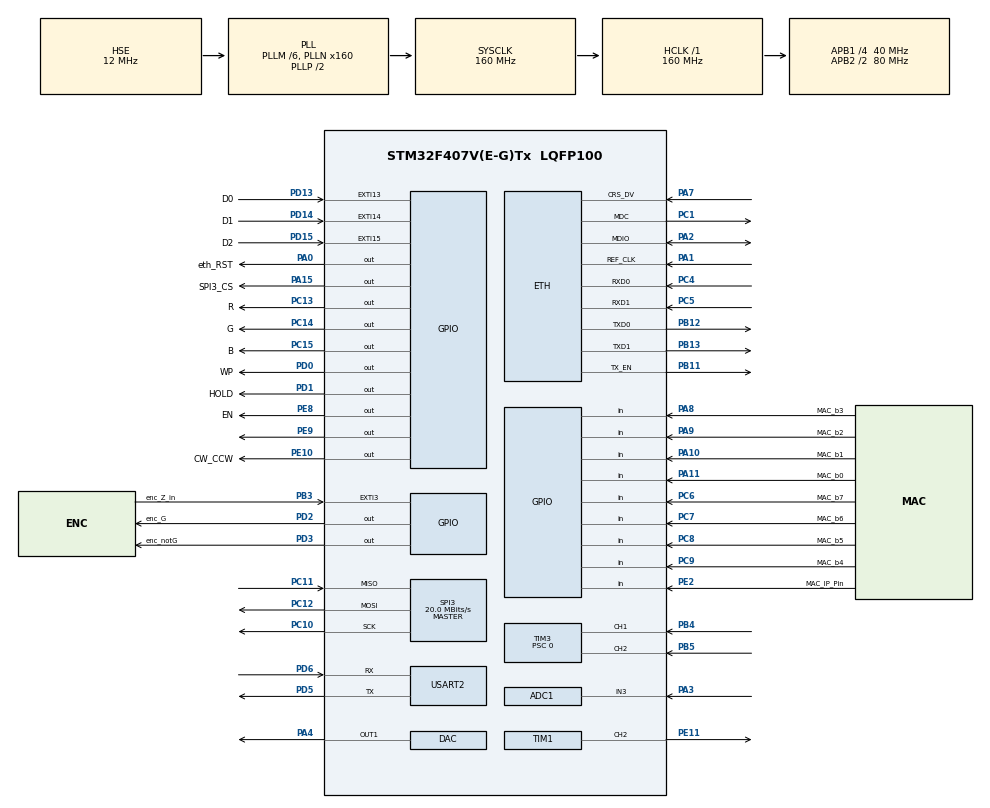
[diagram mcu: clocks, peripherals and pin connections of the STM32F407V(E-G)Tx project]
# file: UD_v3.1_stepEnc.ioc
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ADC1.Channel-0\#ChannelRegularConversion=ADC_CHANNEL_3
ADC1.NbrOfConversionFlag=1
ADC1.Rank-0\#ChannelRegularConversion=1
ADC1.SamplingTime-0\#ChannelRegularConversion=ADC_SAMPLETIME_3CYCLES
ADC1.master=1
Dma.Request0=USART2_TX
Dma.Request1=USART2_RX
Dma.USART2_RX.1.Direction=DMA_PERIPH_TO_MEMORY
Dma.USART2_RX.1.FIFOMode=DMA_FIFOMODE_DISABLE
Dma.USART2_RX.1.Instance=DMA1_Stream5
Dma.USART2_RX.1.MemDataAlignment=DMA_MDATAALIGN_BYTE
Dma.USART2_RX.1.MemInc=DMA_MINC_ENABLE
Dma.USART2_RX.1.Mode=DMA_CIRCULAR
Dma.USART2_RX.1.PeriphDataAlignment=DMA_PDATAALIGN_BYTE
Dma.USART2_RX.1.PeriphInc=DMA_PINC_DISABLE
Dma.USART2_RX.1.Priority=DMA_PRIORITY_LOW
Dma.USART2_TX.0.Direction=DMA_MEMORY_TO_PERIPH
Dma.USART2_TX.0.FIFOMode=DMA_FIFOMODE_DISABLE
Dma.USART2_TX.0.Instance=DMA1_Stream6
Dma.USART2_TX.0.MemDataAlignment=DMA_MDATAALIGN_BYTE
Dma.USART2_TX.0.MemInc=DMA_MINC_ENABLE
Dma.USART2_TX.0.Mode=DMA_NORMAL
Dma.USART2_TX.0.PeriphDataAlignment=DMA_PDATAALIGN_BYTE
Dma.USART2_TX.0.PeriphInc=DMA_PINC_DISABLE
Dma.USART2_TX.0.Priority=DMA_PRIORITY_LOW
ETH.MACAddr=44\:84\:23\:84\:44\:77
ETH.MediaInterface=HAL_ETH_RMII_MODE
ETH.PhyAddress=0
FREERTOS.Queues01=rxDataUART2,16,uint8_t,0,Dynamic,NULL,NULL
FREERTOS.Tasks01=mainTask,0,512,MainTask,Default,NULL,Dynamic,NULL,NULL;Motor_pool,0,512,motor_pool,Default,NULL,Dynamic,NULL,NULL;ledTask,0,512,LedTask,Default,NULL,Dynamic,NULL,NULL;callTask,0,128,CallTask,Default,NULL,Dynamic,NULL,NULL;uart_task,0,1024,uart_Task,Default,NULL,Dynamic,NULL,NULL
FREERTOS.configTOTAL_HEAP_SIZE=32768
FREERTOS.configUSE_NEWLIB_REENTRANT=1
LWIP.BSP.number=1
LWIP.LWIP_DHCP=0
LWIP.LWIP_DNS=1
LWIP.LWIP_NETIF_EXT_STATUS_CALLBACK=1
LWIP.LWIP_NETIF_STATUS_CALLBACK=1
LWIP.Version=v2.1.2_Cube
LWIP0.BSP.STBoard=false
LWIP0.BSP.api=BSP_COMPONENT_DRIVER
LWIP0.BSP.component=LAN8742
LWIP0.BSP.instance=LAN8742
LWIP0.BSP.name=Driver_PHY
LWIP0.BSP.semaphore=S_LAN8742
LWIP0.BSP.solution=LAN8742
Mcu.Family=STM32F4
Mcu.Name=STM32F407V(E-G)Tx
Mcu.Package=LQFP100
NVIC.DMA1_Stream5_IRQn=true\:5\:0\:false\:false\:true\:true\:false\:true\:true
NVIC.DMA1_Stream6_IRQn=true\:5\:0\:false\:false\:true\:true\:false\:true\:true
NVIC.ETH_IRQn=true\:5\:0\:false\:false\:true\:true\:false\:true\:true
NVIC.EXTI15_10_IRQn=true\:5\:0\:false\:false\:true\:true\:true\:true\:true
NVIC.EXTI3_IRQn=true\:5\:0\:false\:false\:true\:true\:true\:true\:true
NVIC.PriorityGroup=NVIC_PRIORITYGROUP_4
NVIC.TIM3_IRQn=true\:5\:0\:false\:false\:true\:true\:true\:true\:true
NVIC.TIM4_IRQn=true\:5\:0\:false\:false\:true\:true\:true\:true\:true
NVIC.TIM6_DAC_IRQn=true\:5\:0\:false\:false\:true\:true\:true\:true\:true
NVIC.TIM7_IRQn=true\:15\:0\:false\:false\:true\:false\:false\:true\:true
NVIC.TimeBase=TIM7_IRQn
NVIC.TimeBaseIP=TIM7
NVIC.USART2_IRQn=true\:5\:0\:false\:false\:true\:true\:true\:true\:true
PA0-WKUP.GPIO_Label=eth_RST
PA0-WKUP.Signal=GPIO_Output
PA1.GPIO_PuPd=GPIO_NOPULL
PA1.Mode=RMII
PA1.Signal=ETH_REF_CLK
PA10.GPIO_Label=MAC_b1
PA10.GPIO_PuPd=GPIO_PULLDOWN
PA10.Signal=GPIO_Input
PA11.GPIO_Label=MAC_b0
PA11.GPIO_PuPd=GPIO_PULLDOWN
PA11.Signal=GPIO_Input
PA13.Mode=Serial_Wire
PA13.Signal=SYS_JTMS-SWDIO
PA14.Mode=Serial_Wire
PA14.Signal=SYS_JTCK-SWCLK
PA15.GPIO_Label=SPI3_CS
PA15.Signal=GPIO_Output
PA2.GPIO_PuPd=GPIO_NOPULL
PA2.Mode=RMII
PA2.Signal=ETH_MDIO
PA3.Signal=ADCx_IN3
PA4.Signal=COMP_DAC1_group
PA7.GPIO_PuPd=GPIO_NOPULL
PA7.Mode=RMII
PA7.Signal=ETH_CRS_DV
PA8.GPIO_Label=MAC_b3
PA8.GPIO_PuPd=GPIO_PULLDOWN
PA8.Signal=GPIO_Input
PA9.GPIO_Label=MAC_b2
PA9.GPIO_PuPd=GPIO_PULLDOWN
PA9.Signal=GPIO_Input
PB11.GPIO_PuPd=GPIO_NOPULL
PB11.Mode=RMII
PB11.Signal=ETH_TX_EN
PB12.GPIO_PuPd=GPIO_NOPULL
PB12.Mode=RMII
PB12.Signal=ETH_TXD0
PB13.GPIO_PuPd=GPIO_NOPULL
PB13.Mode=RMII
PB13.Signal=ETH_TXD1
PB3.GPIO_Label=enc_Z_in
PB3.Signal=GPXTI3
PB4.Signal=S_TIM3_CH1
PB5.Signal=S_TIM3_CH2
PC1.GPIO_PuPd=GPIO_NOPULL
PC1.Mode=RMII
PC1.Signal=ETH_MDC
PC10.Mode=Full_Duplex_Master
PC10.Signal=SPI3_SCK
PC11.Mode=Full_Duplex_Master
PC11.Signal=SPI3_MISO
PC12.Mode=Full_Duplex_Master
PC12.Signal=SPI3_MOSI
PC13-ANTI_TAMP.GPIO_Label=R
PC13-ANTI_TAMP.PinState=GPIO_PIN_SET
PC13-ANTI_TAMP.Signal=GPIO_Output
PC14-OSC32_IN.GPIO_Label=G
PC14-OSC32_IN.PinState=GPIO_PIN_SET
PC14-OSC32_IN.Signal=GPIO_Output
PC15-OSC32_OUT.GPIO_Label=B
PC15-OSC32_OUT.PinState=GPIO_PIN_SET
PC15-OSC32_OUT.Signal=GPIO_Output
PC4.GPIO_PuPd=GPIO_NOPULL
PC4.Mode=RMII
PC4.Signal=ETH_RXD0
PC5.GPIO_PuPd=GPIO_NOPULL
PC5.Mode=RMII
PC5.Signal=ETH_RXD1
PC6.GPIO_Label=MAC_b7
PC6.GPIO_PuPd=GPIO_PULLDOWN
PC6.Signal=GPIO_Input
PC7.GPIO_Label=MAC_b6
PC7.GPIO_PuPd=GPIO_PULLDOWN
PC7.Signal=GPIO_Input
PC8.GPIO_Label=MAC_b5
PC8.GPIO_PuPd=GPIO_PULLDOWN
PC8.Signal=GPIO_Input
PC9.GPIO_Label=MAC_b4
PC9.GPIO_PuPd=GPIO_PULLDOWN
PC9.Signal=GPIO_Input
PD0.GPIO_Label=WP
PD0.Signal=GPIO_Output
PD1.GPIO_Label=HOLD
PD1.Signal=GPIO_Output
PD13.GPIO_Label=D0
PD13.GPIO_ModeDefaultEXTI=GPIO_MODE_IT_RISING
PD13.GPIO_PuPd=GPIO_PULLDOWN
PD13.Signal=GPXTI13
PD14.GPIO_Label=D1
PD14.GPIO_ModeDefaultEXTI=GPIO_MODE_IT_RISING
PD14.GPIO_PuPd=GPIO_PULLDOWN
PD14.Signal=GPXTI14
PD15.GPIO_Label=D2
PD15.GPIO_ModeDefaultEXTI=GPIO_MODE_IT_RISING
PD15.GPIO_PuPd=GPIO_PULLDOWN
PD15.Signal=GPXTI15
PD2.GPIO_Label=enc_G
PD2.GPIO_ModeDefaultOutputPP=GPIO_MODE_OUTPUT_PP
PD2.GPIO_PuPd=GPIO_NOPULL
PD2.GPIO_Speed=GPIO_SPEED_FREQ_LOW
PD2.PinState=GPIO_PIN_RESET
PD2.Signal=GPIO_Output
PD3.GPIO_Label=enc_notG
PD3.GPIO_ModeDefaultOutputPP=GPIO_MODE_OUTPUT_PP
PD3.GPIO_PuPd=GPIO_NOPULL
PD3.GPIO_Speed=GPIO_SPEED_FREQ_LOW
PD3.PinState=GPIO_PIN_RESET
PD3.Signal=GPIO_Output
PD5.Mode=Asynchronous
PD5.Signal=USART2_TX
PD6.Mode=Asynchronous
PD6.Signal=USART2_RX
PE10.GPIO_Label=CW_CCW
PE10.Signal=GPIO_Output
PE11.GPIO_Speed=GPIO_SPEED_FREQ_HIGH
PE11.Signal=S_TIM1_CH2
PE2.GPIO_Label=MAC_IP_Pin
PE2.GPIO_PuPd=GPIO_PULLDOWN
PE2.Signal=GPIO_Input
PE8.GPIO_Label=EN
PE8.Signal=GPIO_Output
PE9.Signal=GPIO_Output
PH0-OSC_IN.Mode=HSE-External-Oscillator
PH0-OSC_IN.Signal=RCC_OSC_IN
PH1-OSC_OUT.Mode=HSE-External-Oscillator
PH1-OSC_OUT.Signal=RCC_OSC_OUT
ProjectManager.HeapSize=0x4000
ProjectManager.StackSize=0x4000
ProjectManager.TargetToolchain=STM32CubeIDE
RCC.48MHZClocksFreq_Value=80000000
RCC.AHBFreq_Value=160000000
RCC.APB1CLKDivider=RCC_HCLK_DIV4
RCC.APB1Freq_Value=40000000
RCC.APB1TimFreq_Value=80000000
RCC.APB2CLKDivider=RCC_HCLK_DIV2
RCC.APB2Freq_Value=80000000
RCC.APB2TimFreq_Value=160000000
RCC.CortexFreq_Value=160000000
RCC.HCLKFreq_Value=160000000
RCC.HSE_VALUE=12000000
RCC.HSI_VALUE=16000000
RCC.LSE_VALUE=32768
RCC.PLLM=6
RCC.PLLN=160
RCC.PLLSourceVirtual=RCC_PLLSOURCE_HSE
RCC.SYSCLKFreq_VALUE=160000000
RCC.SYSCLKSource=RCC_SYSCLKSOURCE_PLLCLK
RCC.VCOOutputFreq_Value=320000000
SH.ADCx_IN3.0=ADC1_IN3,IN3
SH.COMP_DAC1_group.0=DAC_OUT1,DAC_OUT1
SH.S_TIM1_CH2.0=TIM1_CH2,Output Compare2 CH2
SH.S_TIM3_CH1.0=TIM3_CH1,Encoder_Interface
SH.S_TIM3_CH2.0=TIM3_CH2,Encoder_Interface
SPI3.CalculateBaudRate=20.0 MBits/s
SPI3.Direction=SPI_DIRECTION_2LINES
SPI3.Mode=SPI_MODE_MASTER
SPI3.VirtualType=VM_MASTER
TIM1.AutoReloadPreload=TIM_AUTORELOAD_PRELOAD_ENABLE
TIM1.Channel-Output\ Compare2\ CH2=TIM_CHANNEL_2
TIM1.OCMode_2=TIM_OCMODE_TOGGLE
TIM1.Period=10000
TIM1.Prescaler=7
TIM1.TIM_MasterOutputTrigger=TIM_TRGO_UPDATE
TIM3.AutoReloadPreload=TIM_AUTORELOAD_PRELOAD_ENABLE
TIM3.Channel-Output\ Compare3\ No\ Output=TIM_CHANNEL_3
TIM3.Channel-Output\ Compare4\ No\ Output=TIM_CHANNEL_4
TIM3.CounterMode=TIM_COUNTERMODE_UP
TIM3.EncoderMode=TIM_ENCODERMODE_TI12
TIM3.IC1Filter=7
TIM3.IC1Prescaler=TIM_ICPSC_DIV1
TIM3.IC2Filter=7
TIM3.IC2Prescaler=TIM_ICPSC_DIV1
TIM3.OCMode_3=TIM_OCMODE_TOGGLE
TIM3.Period=65535
TIM3.Prescaler=0
TIM4.AutoReloadPreload=TIM_AUTORELOAD_PRELOAD_DISABLE
TIM4.Period=1000
TIM4.Prescaler=1
TIM6.Period=100-1
TIM6.Prescaler=80-1
USART2.VirtualMode=VM_ASYNC
VP_FREERTOS_VS_CMSIS_V1.Mode=CMSIS_V1
VP_LWIP_VS_Enabled.Mode=Enabled
VP_SYS_VS_tim7.Mode=TIM7
VP_TIM1_VS_ClockSourceINT.Mode=Internal
VP_TIM3_VS_no_output3.Mode=Output Compare3 No Output
VP_TIM3_VS_no_output4.Mode=Output Compare4 No Output
VP_TIM4_VS_ClockSourceITR.Mode=TriggerSource_ITR0
VP_TIM4_VS_ControllerModeClock.Mode=Clock Mode
VP_TIM6_VS_ClockSourceINT.Mode=Enable_Timer
board=custom

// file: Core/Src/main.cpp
/* USER CODE BEGIN Header */
/**
 ******************************************************************************
 * @file           : main.c
 * @brief          : Main program body
 ******************************************************************************
 * @attention
 *
 * Copyright (c) 2022 STMicroelectronics.
 * All rights reserved.
 *
 * This software is licensed under terms that can be found in the LICENSE file
 * in the root directory of this software component.
 * If no LICENSE file comes with this software, it is provided AS-IS.
 *
 ******************************************************************************
 */
/* USER CODE END Header */
#include "main.h"
#include "cmsis_os.h"
#include "adc.h"
#include "dac.h"
#include "dma.h"
#include "lwip.h"
#include "spi.h"
#include "tim.h"
#include "usart.h"
#include "gpio.h"

/* USER CODE BEGIN Includes */
#include "motor.hpp"
#include "flash_spi.h"
#include "Delay_us_DWT.h"
#include "LED.h"
#include "stdio.h"
/* USER CODE END Includes */

/* USER CODE BEGIN PV */
uint32_t count_tic = 0; //для замеров времени выполнения кода
extern TIM_HandleTypeDef htim3;
//TIM_HandleTypeDef no;
settings_t settings = {dir::CW, 1, 1};

extern_driver *pMotor;
extern_driver ext_drive(&settings, &htim4, &htim1, TIM_CHANNEL_2, &htim6, &htim3);
led LED_IPadr;
led LED_error;
led LED_OSstart;

flash mem_spi;
pins_spi_t ChipSelect = {SPI3_CS_GPIO_Port, SPI3_CS_Pin};
pins_spi_t WriteProtect = {WP_GPIO_Port, WP_Pin};
pins_spi_t Hold = {HOLD_GPIO_Port, HOLD_Pin};
bool resetSettings = false;
/* USER CODE END PV */

void SystemClock_Config(void);
void MX_FREERTOS_Init(void);
/* USER CODE BEGIN PFP */
uint8_t ReadStraps();
void finishedBlink();
void timoutBlink();

#ifdef __GNUC__
#define PUTCHAR_PROTOTYPE extern "C" int __io_putchar(int ch)
#else
#define PUTCHAR_PROTOTYPE int fputc(int ch, FILE *f)
#endif

/* USER CODE END PFP */

int main(void)
{

  /* MCU Configuration--------------------------------------------------------*/

  /* Reset of all peripherals, Initializes the Flash interface and the Systick. */
  HAL_Init();

  /* Configure the system clock */
  SystemClock_Config();

  /* Initialize all configured peripherals */
  MX_GPIO_Init();
  MX_DMA_Init();
  MX_ADC1_Init();
  MX_SPI3_Init();
  MX_TIM1_Init();
  MX_TIM3_Init();
  MX_TIM6_Init();
  MX_DAC_Init();
  MX_TIM4_Init();
  MX_USART2_UART_Init();
  /* USER CODE BEGIN 2 */

  STM_LOG("Start step enc. %f", 0.01);
	//DWT_Init();
	uint8_t endMAC = 0, IP = 100;

	HAL_GPIO_WritePin(eth_RST_GPIO_Port, eth_RST_Pin, GPIO_PIN_RESET);
	HAL_Delay(300);
	HAL_GPIO_WritePin(eth_RST_GPIO_Port, eth_RST_Pin, GPIO_PIN_SET);

	HAL_GPIO_WritePin(HOLD_GPIO_Port, HOLD_Pin, GPIO_PIN_SET);
	HAL_GPIO_WritePin(WP_GPIO_Port, WP_Pin, GPIO_PIN_SET);

	pMotor = &ext_drive;

	mem_spi.Init(&hspi3, 0, ChipSelect, WriteProtect, Hold, false);
	//HAL_Delay(100);
	mem_spi.Read(&settings);

	// если установлен джампер set
	// заходим в режим настройки
	bool StartSettings = false;
	for (int var = 0; var < 5; ++var) {

		if(HAL_GPIO_ReadPin(MAC_IP_Pin_GPIO_Port, MAC_IP_Pin_Pin)){
			StartSettings = true;
		}else{
			StartSettings = false;
			break;
		}

		HAL_Delay(30);
	}

	//режим настройки
	if(StartSettings){
		StartSettings = false;
		HAL_GPIO_WritePin(G_GPIO_Port, G_Pin, GPIO_PIN_RESET); // PC14 VD3

		endMAC = ReadStraps();
		HAL_Delay(300);
		HAL_GPIO_WritePin(R_GPIO_Port, R_Pin, GPIO_PIN_RESET); // PC13 VD2

		// ждем снятия джампера или таймаута
		int time;
		bool Settings;
		for (time = 0; time < 600; ++time) {

			if(HAL_GPIO_ReadPin(MAC_IP_Pin_GPIO_Port, MAC_IP_Pin_Pin)){
				Settings = true;
			}else{
				Settings = false;
				break;
			}

			HAL_Delay(100);
		}

		if(!Settings){ // if pin settings is 0
			IP = ReadStraps();
			HAL_Delay(300);
			HAL_GPIO_WritePin(B_GPIO_Port, B_Pin, GPIO_PIN_RESET); // PC15 VD4

			if((settings.version != 0) || (settings.version != 0xFF)){ // если считанные настройки не пусты то перезаписываем только изменения

				if(endMAC != 0xFF){
					settings.MAC[5] = endMAC;
				}

				if(IP != 0xFF){
					settings.saveIP.ip[3] = IP;
				}

				mem_spi.W25qxx_EraseSector(0);
				mem_spi.Write(settings);
				mem_spi.Read(&settings);

				finishedBlink();

				// and reset system
				HAL_Delay(500);
				NVIC_SystemReset();
			}else{
				resetSettings = true; // else reset all settings
			}
		}else{

			timoutBlink();
			// and reset system
			HAL_Delay(1000);
			NVIC_SystemReset();
		}

	}
	if((settings.version == 0) || (settings.version == 0xFF) || resetSettings || settings.version != CURENT_VERSION)
	{
		STM_LOG("Start reset settings");
		resetSettings = false;

		settings.Direct = dir::CW;
		settings.mod_rotation = mode_rotation_t::infinity;
		settings.motor = motor_t::stepper_motor;
		settings.Speed = 100;
		settings.StartSpeed = 100;
		settings.Accel = 10;
		settings.Slowdown = 50;
		//settings.SlowdownDistancePer = 10.0; //10%
		settings.Target = 0;
		settings.TimeOut = 60000;
		settings.DHCPset = true;

		settings.saveIP.ip[0] = 192;
		settings.saveIP.ip[1] = 168;
		settings.saveIP.ip[2] = 1;
		settings.saveIP.ip[3] = IP;

		settings.saveIP.mask[0] = 255;
		settings.saveIP.mask[1] = 255;
		settings.saveIP.mask[2] = 255;
		settings.saveIP.mask[3] = 0;

		settings.saveIP.gateway[0] = 192;
		settings.saveIP.gateway[1] = 168;
		settings.saveIP.gateway[2] = 1;
		settings.saveIP.gateway[3] = 1;

		settings.MAC[0] = 0x44;
		settings.MAC[1] = 0x84;
		settings.MAC[2] = 0x23;
		settings.MAC[3] = 0x84;
		settings.MAC[4] = 0x44;
		settings.MAC[5] = endMAC;

		settings.sensors_map.CW_sensor = 0;
		settings.sensors_map.CCW_sensor = 0;
		settings.sensors_map.detected = false;

		settings.version = CURENT_VERSION;

		mem_spi.W25qxx_EraseSector(0);
		mem_spi.Write(settings);
		mem_spi.Read(&settings);
	}
	//HAL_Delay(500);
	mem_spi.SetUsedInOS(true); // switch to use in OS
  /* USER CODE END 2 */

  /* Call init function for freertos objects (in cmsis_os2.c) */
  MX_FREERTOS_Init();

  /* Start scheduler */
  osKernelStart();

  /* We should never get here as control is now taken by the scheduler */

  /* Infinite loop */
	while (1)
	{

	}
}

void SystemClock_Config(void)
{
  RCC_OscInitTypeDef RCC_OscInitStruct = {0};
  RCC_ClkInitTypeDef RCC_ClkInitStruct = {0};

  /** Configure the main internal regulator output voltage
  */
  __HAL_RCC_PWR_CLK_ENABLE();
  __HAL_PWR_VOLTAGESCALING_CONFIG(PWR_REGULATOR_VOLTAGE_SCALE1);

  /** Initializes the RCC Oscillators according to the specified parameters
  * in the RCC_OscInitTypeDef structure.
  */
  RCC_OscInitStruct.OscillatorType = RCC_OSCILLATORTYPE_HSE;
  RCC_OscInitStruct.HSEState = RCC_HSE_ON;
  RCC_OscInitStruct.PLL.PLLState = RCC_PLL_ON;
  RCC_OscInitStruct.PLL.PLLSource = RCC_PLLSOURCE_HSE;
  RCC_OscInitStruct.PLL.PLLM = 6;
  RCC_OscInitStruct.PLL.PLLN = 160;
  RCC_OscInitStruct.PLL.PLLP = RCC_PLLP_DIV2;
  RCC_OscInitStruct.PLL.PLLQ = 4;
  if (HAL_RCC_OscConfig(&RCC_OscInitStruct) != HAL_OK)
  {
    Error_Handler();
  }

  /** Initializes the CPU, AHB and APB buses clocks
  */
  RCC_ClkInitStruct.ClockType = RCC_CLOCKTYPE_HCLK|RCC_CLOCKTYPE_SYSCLK
                              |RCC_CLOCKTYPE_PCLK1|RCC_CLOCKTYPE_PCLK2;
  RCC_ClkInitStruct.SYSCLKSource = RCC_SYSCLKSOURCE_PLLCLK;
  RCC_ClkInitStruct.AHBCLKDivider = RCC_SYSCLK_DIV1;
  RCC_ClkInitStruct.APB1CLKDivider = RCC_HCLK_DIV4;
  RCC_ClkInitStruct.APB2CLKDivider = RCC_HCLK_DIV2;

  if (HAL_RCC_ClockConfig(&RCC_ClkInitStruct, FLASH_LATENCY_5) != HAL_OK)
  {
    Error_Handler();
  }
}

/* USER CODE BEGIN 4 */
PUTCHAR_PROTOTYPE
{
  HAL_UART_Transmit(&huart2, (uint8_t *)&ch, 1, HAL_MAX_DELAY);
  return ch;
}

uint8_t ReadStraps(){
	uint8_t tempStraps;

	//Bit0
	if (HAL_GPIO_ReadPin(MAC_b0_GPIO_Port, MAC_b0_Pin)) SET_BIT(tempStraps,1<<0);
	else CLEAR_BIT(tempStraps,1<<0);
	//Bit1
	if (HAL_GPIO_ReadPin(MAC_b1_GPIO_Port, MAC_b1_Pin)) SET_BIT(tempStraps,1<<1);
	else CLEAR_BIT(tempStraps,1<<1);
	//Bit2
	if (HAL_GPIO_ReadPin(MAC_b2_GPIO_Port, MAC_b2_Pin)) SET_BIT(tempStraps,1<<2);
	else CLEAR_BIT(tempStraps,1<<2);
	//Bit3
	if (HAL_GPIO_ReadPin(MAC_b3_GPIO_Port, MAC_b3_Pin)) SET_BIT(tempStraps,1<<3);
	else CLEAR_BIT(tempStraps,1<<3);
	//Bit4
	if (HAL_GPIO_ReadPin(MAC_b4_GPIO_Port, MAC_b4_Pin)) SET_BIT(tempStraps,1<<4);
	else CLEAR_BIT(tempStraps,1<<4);
	//Bit5
	if (HAL_GPIO_ReadPin(MAC_b5_GPIO_Port, MAC_b5_Pin)) SET_BIT(tempStraps,1<<5);
	else CLEAR_BIT(tempStraps,1<<5);
	//Bit6
	if (HAL_GPIO_ReadPin(MAC_b6_GPIO_Port, MAC_b6_Pin)) SET_BIT(tempStraps,1<<6);
	else CLEAR_BIT(tempStraps,1<<6);
	//Bit7
	if (HAL_GPIO_ReadPin(MAC_b7_GPIO_Port, MAC_b7_Pin)) SET_BIT(tempStraps,1<<7);
	else CLEAR_BIT(tempStraps,1<<7);

	return tempStraps;
}

void finishedBlink(){
#define  timeBetween 300

	// finished blink
	HAL_GPIO_WritePin(B_GPIO_Port, B_Pin, GPIO_PIN_SET); // PC15 VD4
	HAL_GPIO_WritePin(R_GPIO_Port, R_Pin, GPIO_PIN_SET); // PC13 VD2
	HAL_GPIO_WritePin(G_GPIO_Port, G_Pin, GPIO_PIN_SET); // PC14 VD3

	for (int var = 0; var < 5; ++var) {
		HAL_GPIO_WritePin(G_GPIO_Port, G_Pin, GPIO_PIN_RESET); // PC14 VD3
		HAL_Delay(timeBetween);
		HAL_GPIO_WritePin(G_GPIO_Port, G_Pin, GPIO_PIN_SET); // PC14 VD3
		HAL_GPIO_WritePin(R_GPIO_Port, R_Pin, GPIO_PIN_RESET); // PC13 VD2
		HAL_Delay(timeBetween);
		HAL_GPIO_WritePin(R_GPIO_Port, R_Pin, GPIO_PIN_SET); // PC13 VD2
		HAL_GPIO_WritePin(B_GPIO_Port, B_Pin, GPIO_PIN_RESET); // PC15 VD4
		HAL_Delay(timeBetween);
		HAL_GPIO_WritePin(B_GPIO_Port, B_Pin, GPIO_PIN_SET); // PC15 VD4

	}

	HAL_GPIO_WritePin(B_GPIO_Port, B_Pin, GPIO_PIN_SET); // PC15 VD4
	HAL_GPIO_WritePin(R_GPIO_Port, R_Pin, GPIO_PIN_SET); // PC13 VD2
	HAL_GPIO_WritePin(G_GPIO_Port, G_Pin, GPIO_PIN_SET); // PC14 VD3
}

void timoutBlink(){
	// timOut plink  all
	HAL_GPIO_WritePin(B_GPIO_Port, B_Pin, GPIO_PIN_RESET); // PC15 VD4
	HAL_GPIO_WritePin(R_GPIO_Port, R_Pin, GPIO_PIN_RESET); // PC13 VD2
	HAL_GPIO_WritePin(G_GPIO_Port, G_Pin, GPIO_PIN_RESET); // PC14 VD3
	for (int var = 0; var < 5; ++var) {
		HAL_GPIO_TogglePin(B_GPIO_Port, B_Pin); // PC15 VD4
		HAL_GPIO_TogglePin(R_GPIO_Port, R_Pin); // PC13 VD2
		HAL_GPIO_TogglePin(G_GPIO_Port, G_Pin); // PC14 VD3
		HAL_Delay(800);
	}
}

void HAL_TIM_OC_DelayElapsedCallback(TIM_HandleTypeDef *htim){
	if(htim->Instance == TIM3){
		// прерывание от энкодера
		switch (pMotor->getMode()) {
			case infinity_enc:
				// о
				break;
			case infinity:
				// о
				break;
			case by_meter_timer:
				// о
				break;
			case by_meter_enc:
			default:
				pMotor->slowdown();
				break;
		}

	}
}

uint8_t log_tx_buffer[LOG_TX_BUF_SIZE+2];

void __attribute__((section(".non_interrupt"))) STM_LOG(const char* format, ...)
{
	if(DBG_PORT.gState != HAL_UART_STATE_READY) return;
	va_list args;
	int size = 0;

	va_start(args, format);
	//vsprintf((char *)log_tx_buffer, format, args);
	size = vsnprintf((char *)log_tx_buffer, LOG_TX_BUF_SIZE, format, args);
	va_end(args);

	// добавить \r
	log_tx_buffer[size] = '\r';
	log_tx_buffer[size + 1] = 0;

	//HAL_UART_Transmit_DMA(&DBG_PORT, log_tx_buffer, strlen((const char *)log_tx_buffer));
	HAL_UART_Transmit(&DBG_PORT, log_tx_buffer, strlen((const char *)log_tx_buffer), 100);
}
/* USER CODE END 4 */

void HAL_TIM_PeriodElapsedCallback(TIM_HandleTypeDef *htim)
{
  if (htim->Instance == TIM7) {
    HAL_IncTick();
  }
  /* USER CODE BEGIN Callback 1 */

  if (htim->Instance == TIM4) {
    //HAL_IncTick();
	pMotor->StepsAllHandler(__HAL_TIM_GET_COUNTER(htim));
  }

  if (htim->Instance == TIM6)
  {
      pMotor->HandleDebounceTimeout();
  }
  /* USER CODE END Callback 1 */
}

void Error_Handler(void)
{
  /* USER CODE BEGIN Error_Handler_Debug */
	/* User can add his own implementation to report the HAL error return state */
	STM_LOG("Error handler");
	__disable_irq();
	while (1)
	{
	}
  /* USER CODE END Error_Handler_Debug */
}
